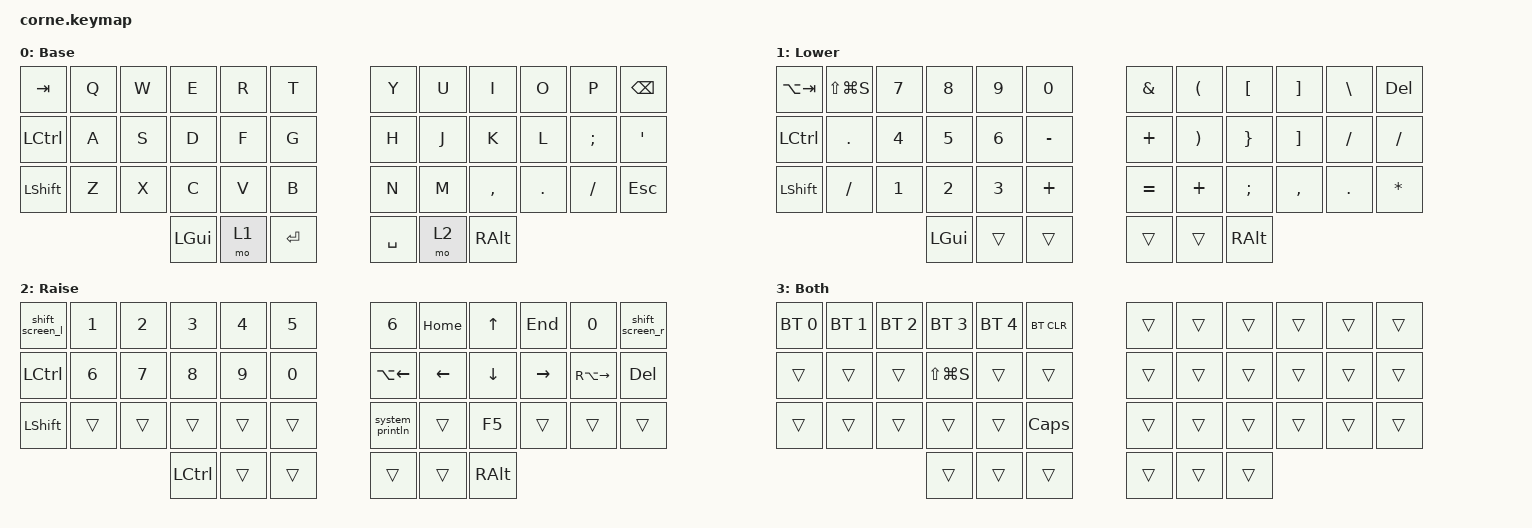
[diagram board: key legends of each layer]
#include <behaviors.dtsi>
#include <dt-bindings/zmk/bt.h>
#include <dt-bindings/zmk/keys.h>

/ {
    macros {
        shift_screen_r: shift_screen_r {
            compatible = "zmk,behavior-macro";
            #binding-cells = <0>;
            bindings = <&kp LS(LG(RIGHT))>;
            label = "SHIFT_SCREEN_R";
        };

        shift_screen_l: shift_screen_l {
            compatible = "zmk,behavior-macro";
            #binding-cells = <0>;
            bindings = <&kp LS(LG(LEFT))>;
            label = "SHIFT_SCREEN_L";
        };

        system_println: system_println {
            compatible = "zmk,behavior-macro";
            #binding-cells = <0>;
            bindings = <&none &kp LS(S) &kp Y &kp S &kp T &kp E &kp M &kp DOT &kp O &kp U &kp T &kp DOT &kp P &kp R &kp I &kp N &kp T &kp L &kp N &kp LPAR &kp DQT>;
            label = "SYSTEM_PRINTLN";
        };
    };

    combos { compatible = "zmk,combos"; };

    keymap {
        compatible = "zmk,keymap";

        Default {
            // -----------------------------------------------------------------------------------------
            // |  TAB |  Q  |  W  |  E  |  R  |  T  |   |  Y  |  U   |  I  |  O  |  P  | BKSP |
            // | CTRL |  A  |  S  |  D  |  F  |  G  |   |  H  |  J   |  K  |  L  |  ;  |  '   |
            // | SHFT |  Z  |  X  |  C  |  V  |  B  |   |  N  |  M   |  ,  |  .  |  /  | ESC  |
            //                    | GUI | LWR | SPC |   | ENT | RSE  | ALT |

            label = "Base";
            bindings = <
&kp TAB    &kp Q  &kp W  &kp E     &kp R  &kp T        &kp Y      &kp U  &kp I      &kp O    &kp P     &kp BSPC
&kp LCTRL  &kp A  &kp S  &kp D     &kp F  &kp G        &kp H      &kp J  &kp K      &kp L    &kp SEMI  &kp SQT
&kp LSHFT  &kp Z  &kp X  &kp C     &kp V  &kp B        &kp N      &kp M  &kp COMMA  &kp DOT  &kp FSLH  &kp ESC
                         &kp LGUI  &mo 1  &kp ENTER    &kp SPACE  &mo 2  &kp RALT
            >;
        };

        Lower {
            // -----------------------------------------------------------------------------------------
            // |  TAB |  !  |  @  |  #  |  $  |  %  |   |  &  |  (  |  {  |  [  |  |  | BKSP |
            // | CTRL |     |     |     |     |     |   |  +  |  )  |  }  |  ]  |  \  |  /   |
            // | SHFT |     |     |     |     |     |   |  =  |  +  |  ;  |  ,  | . |  *   |
            //                    | GUI |     | SPC |   | ENT |     | ALT |

            label = "Lower";
            bindings = <
&kp LA(TAB)  &kp LS(LG(S))  &kp N7  &kp N8    &kp N9  &kp N0       &kp AMPERSAND  &kp LEFT_PARENTHESIS   &kp LEFT_BRACKET  &kp RIGHT_BRACKET  &kp BACKSLASH  &kp DELETE
&kp LCTRL    &kp PERIOD     &kp N4  &kp N5    &kp N6  &kp MINUS    &kp PLUS       &kp RIGHT_PARENTHESIS  &kp RIGHT_BRACE   &kp RIGHT_BRACKET  &kp SLASH      &kp SLASH
&kp LSHFT    &kp SLASH      &kp N1  &kp N2    &kp N3  &kp PLUS     &kp EQUAL      &kp PLUS               &kp SEMICOLON     &kp COMMA          &kp PERIOD     &kp ASTERISK
                                    &kp LGUI  &trans  &trans       &trans         &trans                 &kp RALT
            >;
        };

        Raise {
            // -----------------------------------------------------------------------------------------
            // |  TAB |  1  |  2  |  3  |  4  |  5  |   |  6  |  7  |  UP  |  9  |  0  | BKSP |
            // | BTCLR| BT1 | BT2 | BT3 | BT4 | BT5 |   | LALT| LFT |  DWN | RGT |     |      |
            // | SHFT |     |     |     |     |     |   |     |     |      |     |     |      |
            //                    | GUI |     | SPC |   | ENT |     | ALT |

            label = "Raise";
            bindings = <
&shift_screen_l  &kp N1        &kp N2  &kp N3     &kp N4  &kp N5    &kp N6              &kp HOME  &kp UP_ARROW  &kp END    &kp N0         &shift_screen_r
&kp LCTRL        &kp NUMBER_6  &kp N7  &kp N8     &kp N9  &kp N0    &kp LA(LEFT_ARROW)  &kp LEFT  &kp DOWN      &kp RIGHT  &kp RA(RIGHT)  &kp DEL
&kp LSHFT        &trans        &trans  &trans     &trans  &trans    &system_println     &trans    &kp F5        &trans     &trans         &trans
                                       &kp LCTRL  &trans  &trans    &trans              &trans    &kp RALT
            >;
        };

        Both {
            // -----------------------------------------------------------------------------------------
            // | BT1  | BT2 | BT3 | BT4 | BT5 |BTCLR|   |     |     |     |     |     |      |
            // |      |     |     |  SS |     |     |   |     |     |     |     |     |      |
            // |      |     |     |     |     | CAPS|   |     |     |     |     |     |      |
            //                    | GUI |     | SPC |   | ENT |     | ALT | 

            label = "Both";
            bindings = <
&bt BT_SEL 0  &bt BT_SEL 1  &bt BT_SEL 2  &bt BT_SEL 3   &bt BT_SEL 4  &bt BT_CLR    &trans  &trans  &trans  &trans  &trans  &trans
&trans        &trans        &trans        &kp LS(LG(S))  &trans        &trans        &trans  &trans  &trans  &trans  &trans  &trans
&trans        &trans        &trans        &trans         &trans        &kp CLCK      &trans  &trans  &trans  &trans  &trans  &trans
                                          &trans         &trans        &trans        &trans  &trans  &trans
            >;
        };
    };

    conditional_layers {
        compatible = "zmk,conditional-layers";

        tri_layer {
            if-layers = <2 1>;
            then-layer = <3>;
        };
    };
};
